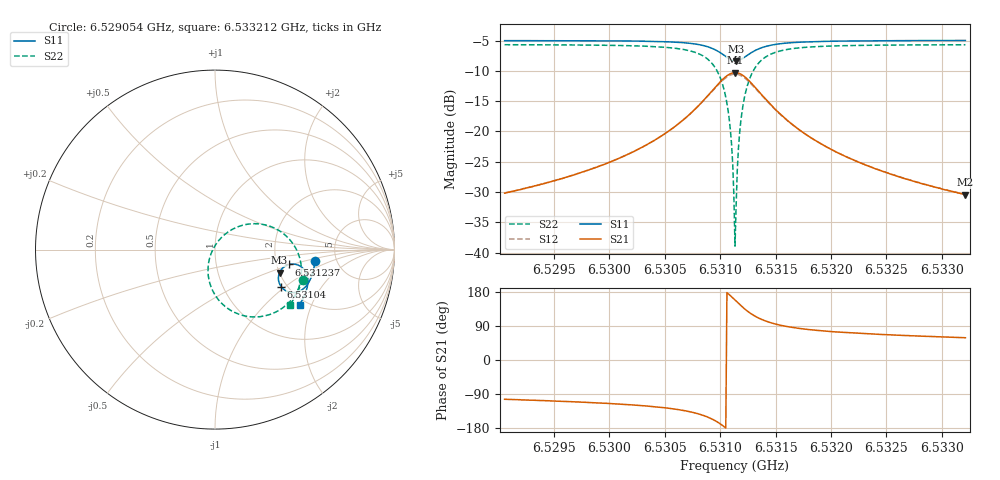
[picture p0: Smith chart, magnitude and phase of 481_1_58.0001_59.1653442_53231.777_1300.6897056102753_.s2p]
#  HZ  S  RI  R  50.00
! Rohde & Schwarz Vector Network Analyzer
! Rohde-Schwarz,ZNB20-2Port,1311601062101988,3.16
! Created: UTC 3/21/2024, 1:11:52 AM
! freq[Hz]  re:S11  im:S11  re:S21  im:S21  re:S12  im:S12  re:S22  im:S22
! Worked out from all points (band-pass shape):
!   401 points, 6.529054 GHz to 6.533212 GHz, reference 50 ohm
!   highest |S21| = -10.30 dB at 6.531133 GHz (marker M1); lowest = -30.4 dB at 6.533212 GHz (marker M2)
!   |S21| within 3 dB of the highest: 6.530927 GHz to 6.531343 GHz (415.6 kHz wide, 0.00636 % of centre)
!   lowest |S11| = -8.4 dB at 6.531144 GHz (marker M3), VSWR 2.24, Z = 100 - j30.1 ohm
!   |S11| at or under -10 dB: nowhere
!   |S22| runs from -38.9 to -5.7 dB; largest |S21 - S12| = 0.012
!   S11 on the Smith chart (normalised r, x): 6.529054 GHz: 3.43, -0.64; 6.53104 GHz: 1.86, -0.93; 6.531237 GHz: 2.34, -0.47; 6.533212 GHz: 1.82, -1.64
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6.5290545e9  0.5572 -0.0637  -0.00728 -0.03  -0.00791 -0.03  0.4914 -0.1674
6.529751e9  0.5466 -0.1214  -0.0167 -0.0429  -0.0176 -0.0425  0.4606 -0.2319
6.5304474e9  0.5177 -0.1901  -0.0502 -0.0734  -0.0523 -0.072  0.3795 -0.323
6.5306865e9  0.4907 -0.2198  -0.0898 -0.0925  -0.0925 -0.0896  0.2994 -0.3634
6.5308632e9  0.447 -0.2387  -0.1575 -0.0989  -0.1597 -0.0925  0.1737 -0.371
6.5309672e9  0.4026 -0.2331  -0.2265 -0.0723  -0.2258 -0.0631  0.0562 -0.3165
6.5310399e9  0.3681 -0.2058  -0.2775 -0.0141  -0.2718 -0.0044  -0.0213 -0.21
6.5310815e9  0.3554 -0.178  -0.2934 0.0385  -0.2847 0.0465  -0.0392 -0.1198
6.5311023e9  0.3532 -0.1615  -0.294 0.0686  -0.284 0.0748  -0.0351 -0.0704
6.5311127e9  0.3534 -0.1532  -0.2921 0.0838  -0.2817 0.089  -0.0297 -0.0455
6.5311231e9  0.3546 -0.1449  -0.2886 0.0989  -0.2779 0.1033  -0.0214 -0.0212
6.5311335e9  0.3567 -0.1364  -0.2836 0.1137  -0.2728 0.1171  -0.0111 0.00219
6.5311439e9  0.3596 -0.1283  -0.2772 0.1278  -0.2664 0.1303  0.00194 0.0246
6.5311543e9  0.3634 -0.1208  -0.2694 0.1414  -0.2589 0.1428  0.0166 0.0456
6.5311647e9  0.3679 -0.1136  -0.2605 0.1539  -0.2501 0.1545  0.0335 0.0645
6.5311855e9  0.3789 -0.1012  -0.2394 0.1758  -0.23 0.1747  0.0711 0.097
6.5312374e9  0.4121 -0.083  -0.1792 0.2076  -0.1726 0.2045  0.1759 0.1406
6.5313102e9  0.4549 -0.0835  -0.1038 0.2095  -0.1006 0.2063  0.3029 0.1311
6.5314142e9  0.492 -0.1062  -0.0392 0.1783  -0.0377 0.1767  0.4085 0.0642
6.53183e9  0.5174 -0.1862  0.0161 0.0858  0.017 0.0856  0.4816 -0.1281
6.5325264e9  0.4978 -0.2574  0.0179 0.0411  0.0187 0.0409  0.4536 -0.2451
6.5332125e9  0.4708 -0.3084  0.0156 0.0257  0.0161 0.0255  0.419 -0.3062
